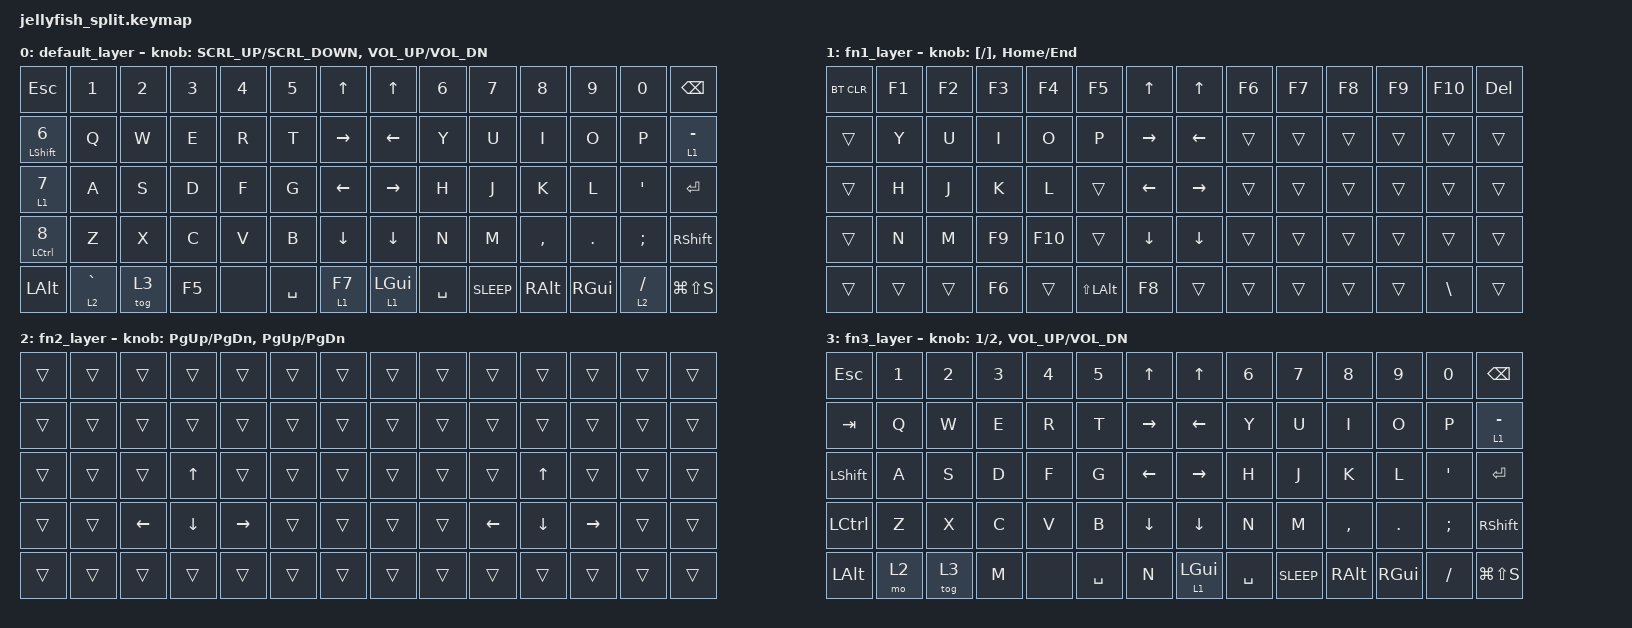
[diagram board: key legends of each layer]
// This file was generated from a template. Edit it to match your keyboard.
// See https://zmk.dev/docs/development/hardware-integration/new-shield for more instructions.

#include <behaviors.dtsi>
#include <dt-bindings/zmk/keys.h>
#include <dt-bindings/zmk/bt.h>
#include <dt-bindings/zmk/outputs.h>
#include <dt-bindings/zmk/mouse.h>

/ {
    behaviors {
        inc_dec_msc: behavior_sensor_rotate_mouse_scroll {
            compatible = "zmk,behavior-sensor-rotate-var";
            #sensor-binding-cells = <2>;
            bindings = <&msc>, <&msc>;
        };
    };
};

/ {
    keymap {
        compatible = "zmk,keymap";

        default_layer {
            // メイン
            bindings = <
                // 左手(7列)                                                                  右手(7列)
                &kp ESC      &kp N1      &kp N2   &kp N3   &kp N4   &kp N5     &kp UP         &kp UP     &kp N6    &kp N7      &kp N8     &kp N9    &kp N0     &kp BSPC
                &mt LSHFT N6 &kp Q       &kp W    &kp E    &kp R    &kp T      &kp RIGHT      &kp LEFT   &kp Y     &kp U       &kp I      &kp O     &kp P      &lt 1 MINUS
                &lt 1 N7     &kp A       &kp S    &kp D    &kp F    &kp G      &kp LEFT       &kp RIGHT  &kp H     &kp J       &kp K      &kp L     &kp APOS   &kp ENTER
                &mt LCTRL N8 &kp Z       &kp X    &kp C    &kp V    &kp B      &kp DOWN       &kp DOWN   &kp N     &kp M       &kp COMMA  &kp DOT   &kp SEMI   &kp RSHFT
                &kp LALT     &lt 2 GRAVE &tog 3   &kp F5   &none    &kp SPACE  &lt 1 F7       &lt 1 LGUI &kp SPACE &kp C_SLEEP &kp RALT   &kp RGUI  &lt 2 FSLH &kp LG(LS(S)) // スクショ
            >;

            // エンコーダーの設定
            // 左側: マウスホイール (SCROLL_UP / SCROLL_DOWN)
            // 右側: 音量 (C_VOL_UP / C_VOL_DN)
            sensor-bindings = <&inc_dec_msc SCRL_UP SCRL_DOWN &inc_dec_kp C_VOL_UP C_VOL_DN>;
        };

        // レイヤー1 (Fn1 / &mo 1)
        fn1_layer {
            bindings = <
                // 左手(7列)                                                                    右手(7列)
                &bt BT_CLR &kp F1    &kp F2    &kp F3    &kp F4    &kp F5       &kp UP          &kp UP    &kp F6    &kp F7    &kp F8    &kp F9    &kp F10   &kp DELETE
                &trans     &kp Y     &kp U     &kp I     &kp O     &kp P        &kp RIGHT       &kp LEFT  &trans    &trans    &trans    &trans    &trans    &trans
                &trans     &kp H     &kp J     &kp K     &kp L     &trans       &kp LEFT        &kp RIGHT &trans    &trans    &trans    &trans    &trans    &trans
                &trans     &kp N     &kp M     &kp F9    &kp F10   &trans       &kp DOWN        &kp DOWN  &trans    &trans    &trans    &trans    &trans    &trans
                &trans     &trans    &trans    &kp F6    &trans    &kp LS(LALT) &kp F8          &trans    &trans    &trans    &trans    &trans    &kp BSLH  &trans
            >;

            // エンコーダーの設定
            // 左側: ブラシサイズ（｛ / ｝） (LBKT / RBKT)
            // 右側: ホーム / エンド (HOME / END)
            sensor-bindings = <&inc_dec_kp LBKT RBKT &inc_dec_kp HOME END>;
        };

        // レイヤー2 (Fn2 / &mo 2 方向キー / ファンクションキー)
        fn2_layer {
            bindings = <
                // 左手(7列)                                                  右手(7列)
                &trans  &trans  &trans   &trans   &trans    &trans  &trans    &trans  &trans  &trans   &trans   &trans    &trans  &trans
                &trans  &trans  &trans   &trans   &trans    &trans  &trans    &trans  &trans  &trans   &trans   &trans    &trans  &trans
                &trans  &trans  &trans   &kp UP   &trans    &trans  &trans    &trans  &trans  &trans   &kp UP   &trans    &trans  &trans
                &trans  &trans  &kp LEFT &kp DOWN &kp RIGHT &trans  &trans    &trans  &trans  &kp LEFT &kp DOWN &kp RIGHT &trans  &trans
                &trans  &trans  &trans   &trans   &trans    &trans  &trans    &trans  &trans  &trans   &trans   &trans    &trans  &trans
            >;

            // エンコーダーの設定
            // 左側: アップ / ダウン (UP / DOWN)
            // 右側: レフト / ライト (LEFT / RIGHT)
            sensor-bindings = <&inc_dec_kp 	PG_UP PG_DN &inc_dec_kp PG_UP PG_DN>;
        };

        // レイヤー3（文字入力・ゲーム用） (Fn3 / &tog 3)
        fn3_layer {
            bindings = <
                // 左手(7列)                                                              右手(7列)
                &kp ESC    &kp N1    &kp N2    &kp N3    &kp N4    &kp N5    &kp UP       &kp UP     &kp N6    &kp N7      &kp N8    &kp N9    &kp N0    &kp BSPC
                &kp TAB    &kp Q     &kp W     &kp E     &kp R     &kp T     &kp RIGHT    &kp LEFT   &kp Y     &kp U       &kp I     &kp O     &kp P     &lt 1 MINUS
                &kp LSHFT  &kp A     &kp S     &kp D     &kp F     &kp G     &kp LEFT     &kp RIGHT  &kp H     &kp J       &kp K     &kp L     &kp APOS  &kp ENTER
                &kp LCTRL  &kp Z     &kp X     &kp C     &kp V     &kp B     &kp DOWN     &kp DOWN   &kp N     &kp M       &kp COMMA &kp DOT   &kp SEMI  &kp RSHFT
                &kp LALT   &mo 2     &tog 3    &kp M     &none     &kp SPACE &kp N        &lt 1 LGUI &kp SPACE &kp C_SLEEP &kp RALT  &kp RGUI  &kp FSLH  &kp LG(LS(S)) // スクショ
            >;

            // エンコーダーの設定
            // 左側: 武器切り替え (N1 / N2)
            // 右側: 音量 (C_VOL_UP / C_VOL_DN)
            sensor-bindings = <&inc_dec_kp N1 N2 &inc_dec_kp C_VOL_UP C_VOL_DN>;
        };
    };
};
